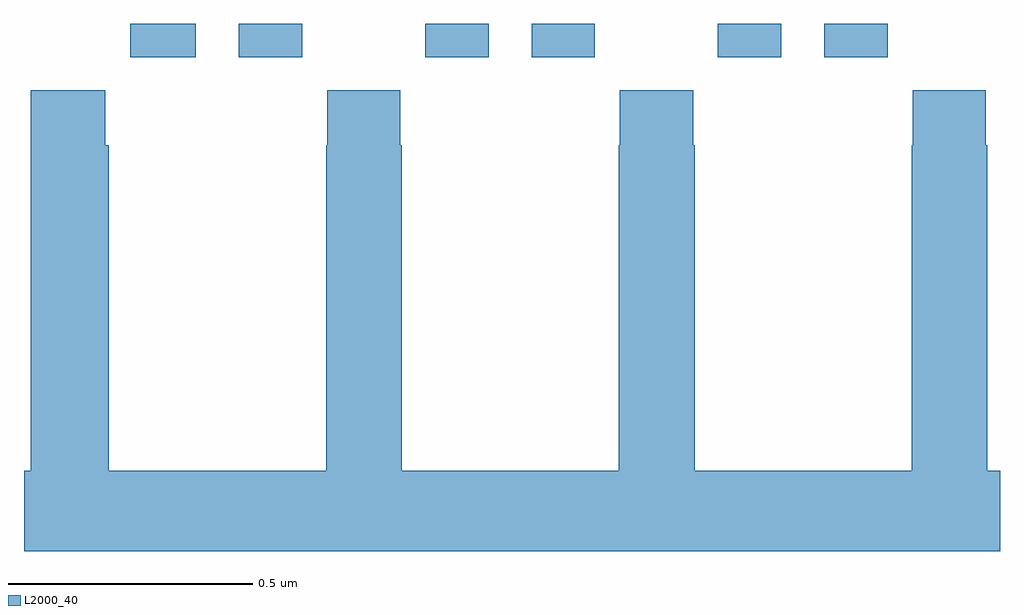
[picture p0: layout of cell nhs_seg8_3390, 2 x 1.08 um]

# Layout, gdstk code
import gdstk
lib = gdstk.Library(unit=1e-6, precision=1e-09)
def R(c, l, rs):  # rectangles x0, y0, x1, y1
    for r in rs: c.add(gdstk.rectangle(r[:2], r[2:], *l))
def P(c, l, *ps):  # polygons
    for p in ps: c.add(gdstk.Polygon(p, *l))
L2000_40 = (2000, 40)

nhs_seg8_3390 = lib.new_cell('nhs_seg8_3390')
R(nhs_seg8_3390, L2000_40, [(156.218,1130.832,156.352,1130.9), (156.44,1130.832,156.57,1130.9), (156.822,1130.832,156.952,1130.9), (157.04,1130.832,157.17,1130.9), (157.422,1130.832,157.552,1130.9), (157.64,1130.832,157.77,1130.9)])
P(nhs_seg8_3390, L2000_40, [(158,1129.984),(157.974,1129.984),(157.974,1130.651),(157.971,1130.651),(157.971,1130.764),(157.821,1130.764),(157.821,1130.651),(157.819,1130.651),(157.819,1129.984),(157.374,1129.984),(157.374,1130.651),(157.371,1130.651),(157.371,1130.764),(157.221,1130.764),(157.221,1130.651),(157.219,1130.651),(157.219,1129.984),(156.774,1129.984),(156.774,1130.651),(156.771,1130.651),(156.771,1130.764),(156.621,1130.764),(156.621,1130.651),(156.619,1130.651),(156.619,1129.984),(156.174,1129.984),(156.174,1130.651),(156.167,1130.651),(156.167,1130.764),(156.014,1130.764),(156.014,1129.984),(156,1129.984),(156,1129.82),(158,1129.82)])

lib.write_gds('nhs_seg8_3390.gds')
